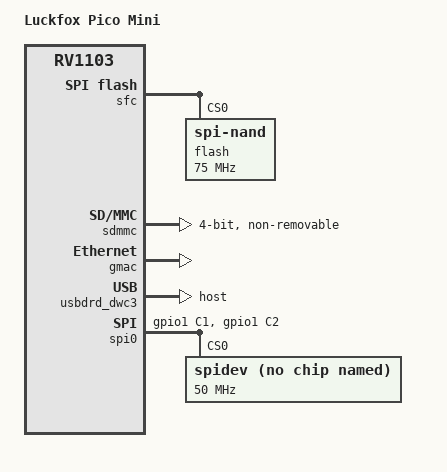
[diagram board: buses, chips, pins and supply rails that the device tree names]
// SPDX-License-Identifier: (GPL-2.0+ OR MIT)
/*
 * Copyright (c) 2023 Luckfox Electronics Co., Ltd.
 */

/dts-v1/;

#include "rv1103.dtsi"
#include "rv1106-evb.dtsi"
#include "rv1103-luckfox-pico-ipc.dtsi"

/ {
	model = "Luckfox Pico Mini";
	compatible = "rockchip,rv1103g-38x38-ipc-v10", "rockchip,rv1103";
};

/**********SFC**********/
&sfc {
	status = "okay";
	flash@0 {
		compatible = "spi-nand";
		reg = <0>;
		spi-max-frequency = <75000000>;
		spi-rx-bus-width = <4>;
		spi-tx-bus-width = <1>;
	};
};

/**********SDMMC**********/
&sdmmc {
	max-frequency = <50000000>;
	no-mmc;
	bus-width = <4>;
	cap-mmc-highspeed;
	cap-sd-highspeed;
	disable-wp;
	
	//sdio
	cap-sdio-irq;
	non-removable;	
	no-1-8-v;
	supports-sdio;

	pinctrl-names = "default";
	pinctrl-0 = <&sdmmc0_clk &sdmmc0_cmd &sdmmc0_det &sdmmc0_bus4>;
	status = "okay";
};

/**********ETH**********/
&gmac {
	status = "okay";
};

/**********USB**********/
&usbdrd_dwc3 {
	status = "okay";
	dr_mode = "host";
};

/**********SPI**********/
/* SPI0_M0 */
&spi0 {
    status = "okay";
    pinctrl-0 = <&spi0m0_clk &spi0m0_mosi>;
    spidev@0 {
        status = "okay";
        compatible = "rockchip,spidev";
        spi-max-frequency = <50000000>;
        reg = <0>;
    };
    fbtft@0 {
        status = "disabled";
    };
};
&pinctrl {
    spi0 {
        spi0m0_clk: spi0m0-clk {
            rockchip,pins = <1 RK_PC1 4 &pcfg_pull_none>;
        };
        spi0m0_mosi: spi0m0-mosi {
            rockchip,pins = <1 RK_PC2 6 &pcfg_pull_none>;
        };
        spi0m0_miso: spi0m0-miso {
            rockchip,pins = <1 RK_PC3 6 &pcfg_pull_none>;
        };
        spi0m0_cs0: spi0m0-cs0 {
            rockchip,pins = <1 RK_PC0 4 &pcfg_pull_none>;
        };
    };
};

/**********I2C**********/
/* I2C3_M1 */
&i2c3 {
	status = "disabled";
	clock-frequency = <100000>;
};

/**********UART**********/
/* UART3_M1 */
&uart3 {
	status = "disabled";
};

/* UART4_M1 */
&uart4 {
	status = "disabled";
};

/**********PWM**********/
/* PWM1_M0 */
&pwm1 {
	status = "disabled";
};
